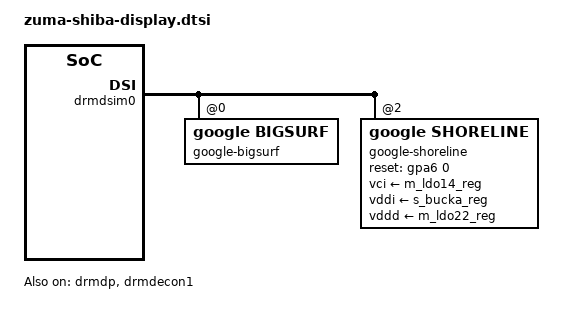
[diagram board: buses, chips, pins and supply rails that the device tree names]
// SPDX-License-Identifier: GPL-2.0-only
/*
 * Display nodes for shiba-related boards.
 *
 * Copyright 2022 Google LLC
 *
 */

#include "zuma-shusky-display.dtsi"

&drmdsim0 {
	google_bigsurf: panel@0 {
		compatible = "google,bigsurf";
		label = "google-bigsurf";
		touch = <&spitouch>;
		vddd-normal-microvolt = <1150000>;
		vddd-lp-microvolt     = <1062500>;
		post-vddd-lp;
	};
	google_shoreline: panel@2 {
		compatible = "google,shoreline";
		label = "google-shoreline";
		channel = <0>;
		touch = <&spitouch>;

		/* reset, power */
		reset-gpios = <&gpa6 0 GPIO_ACTIVE_HIGH>;
		vci-supply = <&m_ldo14_reg>;
		vddi-supply = <&s_bucka_reg>;
		vddd-supply = <&m_ldo22_reg>;
		vddd-normal-microvolt = <1150000>;
		vddd-lp-microvolt     = <1062500>;
		post-vddd-lp;
	};
};

&drmdsim1 {
	status = "disabled";
};

&drmdp {
	status = "okay";
};

&drmdecon1 {
	status = "okay";
	connector = <0x10>;
};
